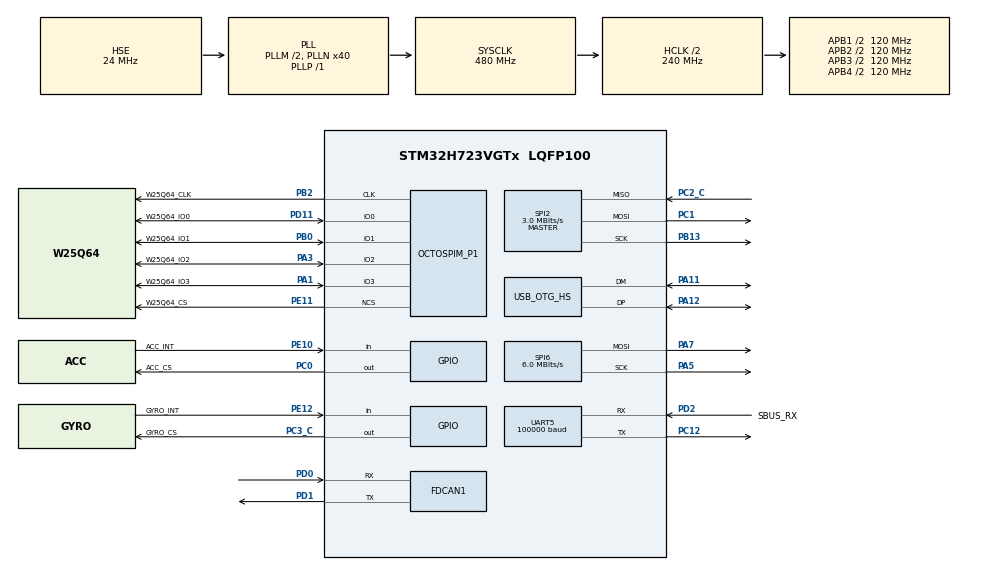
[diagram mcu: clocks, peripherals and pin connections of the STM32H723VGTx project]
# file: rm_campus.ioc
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CORTEX_M7.default_mode_Activation=1
Dma.Request0=UART5_RX
Dma.UART5_RX.0.Direction=DMA_PERIPH_TO_MEMORY
Dma.UART5_RX.0.EventEnable=DISABLE
Dma.UART5_RX.0.FIFOMode=DMA_FIFOMODE_DISABLE
Dma.UART5_RX.0.Instance=DMA1_Stream0
Dma.UART5_RX.0.MemDataAlignment=DMA_MDATAALIGN_BYTE
Dma.UART5_RX.0.MemInc=DMA_MINC_ENABLE
Dma.UART5_RX.0.Mode=DMA_CIRCULAR
Dma.UART5_RX.0.PeriphDataAlignment=DMA_PDATAALIGN_BYTE
Dma.UART5_RX.0.PeriphInc=DMA_PINC_DISABLE
Dma.UART5_RX.0.Polarity=HAL_DMAMUX_REQ_GEN_RISING
Dma.UART5_RX.0.Priority=DMA_PRIORITY_LOW
Dma.UART5_RX.0.RequestNumber=1
Dma.UART5_RX.0.SignalID=NONE
Dma.UART5_RX.0.SyncEnable=DISABLE
Dma.UART5_RX.0.SyncPolarity=HAL_DMAMUX_SYNC_NO_EVENT
Dma.UART5_RX.0.SyncRequestNumber=1
Dma.UART5_RX.0.SyncSignalID=NONE
FDCAN1.AutoRetransmission=ENABLE
FDCAN1.CalculateBaudRateNominal=1000000
FDCAN1.CalculateTimeBitNominal=1000
FDCAN1.CalculateTimeQuantumNominal=62.5
FDCAN1.ExtFiltersNbr=0
FDCAN1.FrameFormat=FDCAN_FRAME_CLASSIC
FDCAN1.MessageRAMOffset=0
FDCAN1.Mode=FDCAN_MODE_NORMAL
FDCAN1.NominalPrescaler=3
FDCAN1.NominalSyncJumpWidth=2
FDCAN1.NominalTimeSeg1=13
FDCAN1.NominalTimeSeg2=2
FDCAN1.RxFifo0ElmtSize=FDCAN_DATA_BYTES_8
FDCAN1.RxFifo0ElmtsNbr=8
FDCAN1.StdFiltersNbr=1
FDCAN1.TxElmtSize=FDCAN_DATA_BYTES_8
FDCAN1.TxFifoQueueElmtsNbr=8
FDCAN1.TxFifoQueueMode=FDCAN_TX_FIFO_OPERATION
FREERTOS.Tasks01=UsbTask,16,1024,StartUsbTask,Default,NULL,Dynamic,NULL,NULL;ImuTask,42,1024,StartImuTask,Default,NULL,Dynamic,NULL,NULL;RcTask,41,512,StartRcTask,Default,NULL,Dynamic,NULL,NULL;ChassisTask,40,1024,StartChassisTask,Default,NULL,Dynamic,NULL,NULL;ServoBusTask,32,512,StartServoBusTask,Default,NULL,Dynamic,NULL,NULL;MonitorTask,24,256,StartMonitorTask,Default,NULL,Dynamic,NULL,NULL;StatusTask,8,256,StartStatusTask,Default,NULL,Dynamic,NULL,NULL
FREERTOS.configCHECK_FOR_STACK_OVERFLOW=2
FREERTOS.configENABLE_FPU=1
FREERTOS.configTOTAL_HEAP_SIZE=49152
FREERTOS.configUSE_MALLOC_FAILED_HOOK=1
Mcu.Family=STM32H7
Mcu.Name=STM32H723VGTx
Mcu.Package=LQFP100
NVIC.DMA1_Stream0_IRQn=true\:5\:0\:false\:false\:true\:true\:false\:true\:true
NVIC.FDCAN1_IT0_IRQn=true\:5\:0\:false\:false\:true\:true\:true\:true\:true
NVIC.OTG_HS_IRQn=true\:5\:0\:false\:false\:true\:true\:false\:true\:true
NVIC.PriorityGroup=NVIC_PRIORITYGROUP_4
NVIC.TIM6_DAC_IRQn=true\:15\:0\:false\:false\:true\:false\:false\:true\:true
NVIC.TimeBase=TIM6_DAC_IRQn
NVIC.TimeBaseIP=TIM6
NVIC.UART5_IRQn=true\:5\:0\:false\:false\:true\:true\:true\:true\:true
OCTOSPI2.ChipSelectBoundary=0
OCTOSPI2.ChipSelectHighTime=3
OCTOSPI2.ClockMode=HAL_OSPI_CLOCK_MODE_3
OCTOSPI2.ClockPrescaler=24
OCTOSPI2.DelayBlockBypass=HAL_OSPI_DELAY_BLOCK_BYPASSED
OCTOSPI2.DelayHoldQuarterCycle=HAL_OSPI_DHQC_DISABLE
OCTOSPI2.DeviceSize=23
OCTOSPI2.DualQuad=HAL_OSPI_DUALQUAD_DISABLE
OCTOSPI2.FifoThreshold=1
OCTOSPI2.FreeRunningClock=HAL_OSPI_FREERUNCLK_DISABLE
OCTOSPI2.MemoryType=HAL_OSPI_MEMTYPE_MICRON
OCTOSPI2.SampleShifting=HAL_OSPI_SAMPLE_SHIFTING_HALFCYCLE
OCTOSPI2.WrapSize=HAL_OSPI_WRAP_NOT_SUPPORTED
PA1.GPIO_Label=W25Q64_IO3
PA1.GPIO_PuPd=GPIO_NOPULL
PA1.GPIO_Speed=GPIO_SPEED_FREQ_VERY_HIGH
PA1.Mode=OCTOSPI2_IOL_Port1L
PA1.Signal=OCTOSPIM_P1_IO3
PA11.Mode=Device_Only_FS
PA11.Signal=USB_OTG_HS_DM
PA12.Mode=Device_Only_FS
PA12.Signal=USB_OTG_HS_DP
PA13(JTMS/SWDIO).Mode=Serial_Wire
PA13(JTMS/SWDIO).Signal=DEBUG_JTMS-SWDIO
PA14(JTCK/SWCLK).Mode=Serial_Wire
PA14(JTCK/SWCLK).Signal=DEBUG_JTCK-SWCLK
PA3.GPIO_Label=W25Q64_IO2
PA3.GPIO_PuPd=GPIO_NOPULL
PA3.GPIO_Speed=GPIO_SPEED_FREQ_VERY_HIGH
PA3.Mode=OCTOSPI2_IOL_Port1L
PA3.Signal=OCTOSPIM_P1_IO2
PA5.Mode=TX_Only_Simplex_Unidirect_Master
PA5.Signal=SPI6_SCK
PA7.GPIO_Speed=GPIO_SPEED_FREQ_HIGH
PA7.Mode=TX_Only_Simplex_Unidirect_Master
PA7.Signal=SPI6_MOSI
PB0.GPIO_Label=W25Q64_IO1
PB0.GPIO_PuPd=GPIO_NOPULL
PB0.GPIO_Speed=GPIO_SPEED_FREQ_VERY_HIGH
PB0.Mode=OCTOSPI2_IOL_Port1L
PB0.Signal=OCTOSPIM_P1_IO1
PB13.GPIO_Speed=GPIO_SPEED_FREQ_HIGH
PB13.Mode=Full_Duplex_Master
PB13.Signal=SPI2_SCK
PB2.GPIO_Label=W25Q64_CLK
PB2.GPIO_PuPd=GPIO_NOPULL
PB2.GPIO_Speed=GPIO_SPEED_FREQ_VERY_HIGH
PB2.Mode=O2_P1_CLK
PB2.Signal=OCTOSPIM_P1_CLK
PC0.GPIO_Label=ACC_CS
PC0.GPIO_Speed=GPIO_SPEED_FREQ_HIGH
PC0.PinState=GPIO_PIN_SET
PC0.Signal=GPIO_Output
PC1.GPIO_Speed=GPIO_SPEED_FREQ_HIGH
PC1.Mode=Full_Duplex_Master
PC1.Signal=SPI2_MOSI
PC12.Mode=Asynchronous
PC12.Signal=UART5_TX
PC2_C.Mode=Full_Duplex_Master
PC2_C.Signal=SPI2_MISO
PC3_C.GPIO_Label=GYRO_CS
PC3_C.GPIO_Speed=GPIO_SPEED_FREQ_HIGH
PC3_C.PinState=GPIO_PIN_SET
PC3_C.Signal=GPIO_Output
PD11.GPIO_Label=W25Q64_IO0
PD11.GPIO_PuPd=GPIO_NOPULL
PD11.GPIO_Speed=GPIO_SPEED_FREQ_VERY_HIGH
PD11.Mode=OCTOSPI2_IOL_Port1L
PD11.Signal=OCTOSPIM_P1_IO0
PD0.Mode=FDCAN_Activate
PD0.Signal=FDCAN1_RX
PD1.Mode=FDCAN_Activate
PD1.Signal=FDCAN1_TX
PD2.GPIO_Label=SBUS_RX
PD2.Mode=Asynchronous
PD2.Signal=UART5_RX
PE10.GPIO_Label=ACC_INT
PE10.GPIO_PuPd=GPIO_NOPULL
PE10.Signal=GPIO_Input
PE11.GPIO_Label=W25Q64_CS
PE11.GPIO_PuPd=GPIO_NOPULL
PE11.GPIO_Speed=GPIO_SPEED_FREQ_VERY_HIGH
PE11.Mode=OCTOSPI2_Port1_NCS
PE11.Signal=OCTOSPIM_P1_NCS
PE12.GPIO_Label=GYRO_INT
PE12.GPIO_PuPd=GPIO_NOPULL
PE12.Signal=GPIO_Input
PH0-OSC_IN.Mode=HSE-External-Oscillator
PH0-OSC_IN.Signal=RCC_OSC_IN
PH1-OSC_OUT.Mode=HSE-External-Oscillator
PH1-OSC_OUT.Signal=RCC_OSC_OUT
ProjectManager.HeapSize=0x200
ProjectManager.StackSize=0x400
ProjectManager.TargetToolchain=CMake
RCC.ADCFreq_Value=48375000
RCC.APB1Freq_Value=120000000
RCC.APB2Freq_Value=120000000
RCC.APB3Freq_Value=120000000
RCC.APB4Freq_Value=120000000
RCC.CortexFreq_Value=480000000
RCC.D1PPRE=RCC_APB3_DIV2
RCC.D2PPRE1=RCC_APB1_DIV2
RCC.D2PPRE2=RCC_APB2_DIV2
RCC.D3PPRE=RCC_APB4_DIV2
RCC.DIVM1=2
RCC.DIVN1=40
RCC.DIVP1=1
RCC.DIVQ1=10
RCC.HCLKFreq_Value=240000000
RCC.HPRE=RCC_HCLK_DIV2
RCC.HSE_VALUE=24000000
RCC.PLL2FRACN=0
RCC.PLL3FRACN=0
RCC.PLLFRACN=0
RCC.PLLSourceVirtual=RCC_PLLSOURCE_HSE
RCC.QSPICLockSelection=RCC_OSPICLKSOURCE_D1HCLK
RCC.SPI6CLockSelection=RCC_SPI6CLKSOURCE_HSE
RCC.SYSCLKFreq_VALUE=480000000
RCC.SYSCLKSource=RCC_SYSCLKSOURCE_PLLCLK
RCC.USBFreq_Value=48000000
SPI2.BaudRatePrescaler=SPI_BAUDRATEPRESCALER_16
SPI2.CLKPhase=SPI_PHASE_2EDGE
SPI2.CLKPolarity=SPI_POLARITY_HIGH
SPI2.CalculateBaudRate=3.0 MBits/s
SPI2.DataSize=SPI_DATASIZE_8BIT
SPI2.Direction=SPI_DIRECTION_2LINES
SPI2.Mode=SPI_MODE_MASTER
SPI2.VirtualType=VM_MASTER
SPI6.BaudRatePrescaler=SPI_BAUDRATEPRESCALER_4
SPI6.CLKPhase=SPI_PHASE_2EDGE
SPI6.CalculateBaudRate=6.0 MBits/s
SPI6.DataSize=SPI_DATASIZE_8BIT
SPI6.Direction=SPI_DIRECTION_2LINES_TXONLY
SPI6.Mode=SPI_MODE_MASTER
SPI6.VirtualType=VM_MASTER
UART5.BaudRate=100000
UART5.Parity=PARITY_EVEN
UART5.StopBits=UART_STOPBITS_2
UART5.WordLength=WORDLENGTH_9B
USB_DEVICE.CLASS_NAME_HS=CDC
USB_DEVICE.VirtualMode=Cdc
USB_DEVICE.VirtualModeHS=Cdc_HS
USB_OTG_HS.VirtualMode-Device_Only_FS=Device_Only_FS
VP_FREERTOS_VS_CMSIS_V2.Mode=CMSIS_V2
VP_MEMORYMAP_VS_MEMORYMAP.Mode=CurAppReg
VP_OCTOSPI2_VS_octo.Mode=octo_mode
VP_SYS_VS_tim6.Mode=TIM6
VP_USB_DEVICE_VS_USB_DEVICE_CDC_HS.Mode=CDC_HS
board=custom

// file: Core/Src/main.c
/* USER CODE BEGIN Header */
/**
  ******************************************************************************
  * @file           : main.c
  * @brief          : Main program body
  ******************************************************************************
  * @attention
  *
  * Copyright (c) 2026 STMicroelectronics.
  * All rights reserved.
  *
  * This software is licensed under terms that can be found in the LICENSE file
  * in the root directory of this software component.
  * If no LICENSE file comes with this software, it is provided AS-IS.
  *
  ******************************************************************************
  */
/* USER CODE END Header */
#include "main.h"
#include "cmsis_os.h"
#include "dma.h"
#include "fdcan.h"
#include "spi.h"
#include "octospi.h"
#include "usart.h"
#include "usb_device.h"
#include "gpio.h"

/* USER CODE BEGIN Includes */
#include "campus_app.h"
/* USER CODE END Includes */

void SystemClock_Config(void);
static void MPU_Config(void);
void MX_FREERTOS_Init(void);

int main(void)
{

  /* MPU Configuration--------------------------------------------------------*/
  MPU_Config();

  /* MCU Configuration--------------------------------------------------------*/

  /* Reset of all peripherals, Initializes the Flash interface and the Systick. */
  HAL_Init();

  /* Configure the system clock */
  SystemClock_Config();

  /* Initialize all configured peripherals */
  MX_GPIO_Init();
  MX_DMA_Init();
  MX_SPI2_Init();
  MX_SPI6_Init();
  MX_UART5_Init();
  MX_FDCAN1_Init();
  MX_OCTOSPI2_Init();
  /* USER CODE BEGIN 2 */
/* 接通 CAN 和电机反馈；尚不发送非零电流。 */
  /* Campus_Init 只启动 CAN 与电机反馈；DMA 接收在调度器启动后的 RcTask 中启动。
   * 对象初始化必须先于 CAN 接收 IRQ；当前不在此处使能运动或发送非零电流。 */
  Campus_Init();
  /* USER CODE END 2 */

  /* Init scheduler */
  osKernelInitialize();  /* Call init function for freertos objects (in cmsis_os2.c) */
  MX_FREERTOS_Init();

  /* Start scheduler */
  osKernelStart();

  /* We should never get here as control is now taken by the scheduler */

  /* Infinite loop */
  while (1)
  {

  }
}

void SystemClock_Config(void)
{
  RCC_OscInitTypeDef RCC_OscInitStruct = {0};
  RCC_ClkInitTypeDef RCC_ClkInitStruct = {0};

  /** Supply configuration update enable
  */
  HAL_PWREx_ConfigSupply(PWR_LDO_SUPPLY);

  /** Configure the main internal regulator output voltage
  */
  __HAL_PWR_VOLTAGESCALING_CONFIG(PWR_REGULATOR_VOLTAGE_SCALE0);

  while(!__HAL_PWR_GET_FLAG(PWR_FLAG_VOSRDY)) {}

  /** Initializes the RCC Oscillators according to the specified parameters
  * in the RCC_OscInitTypeDef structure.
  */
  RCC_OscInitStruct.OscillatorType = RCC_OSCILLATORTYPE_HSE;
  RCC_OscInitStruct.HSEState = RCC_HSE_ON;
  RCC_OscInitStruct.PLL.PLLState = RCC_PLL_ON;
  RCC_OscInitStruct.PLL.PLLSource = RCC_PLLSOURCE_HSE;
  RCC_OscInitStruct.PLL.PLLM = 2;
  RCC_OscInitStruct.PLL.PLLN = 40;
  RCC_OscInitStruct.PLL.PLLP = 1;
  RCC_OscInitStruct.PLL.PLLQ = 10;
  RCC_OscInitStruct.PLL.PLLR = 2;
  RCC_OscInitStruct.PLL.PLLRGE = RCC_PLL1VCIRANGE_3;
  RCC_OscInitStruct.PLL.PLLVCOSEL = RCC_PLL1VCOWIDE;
  RCC_OscInitStruct.PLL.PLLFRACN = 0;
  if (HAL_RCC_OscConfig(&RCC_OscInitStruct) != HAL_OK)
  {
    Error_Handler();
  }

  /** Initializes the CPU, AHB and APB buses clocks
  */
  RCC_ClkInitStruct.ClockType = RCC_CLOCKTYPE_HCLK|RCC_CLOCKTYPE_SYSCLK
                              |RCC_CLOCKTYPE_PCLK1|RCC_CLOCKTYPE_PCLK2
                              |RCC_CLOCKTYPE_D3PCLK1|RCC_CLOCKTYPE_D1PCLK1;
  RCC_ClkInitStruct.SYSCLKSource = RCC_SYSCLKSOURCE_PLLCLK;
  RCC_ClkInitStruct.SYSCLKDivider = RCC_SYSCLK_DIV1;
  RCC_ClkInitStruct.AHBCLKDivider = RCC_HCLK_DIV2;
  RCC_ClkInitStruct.APB3CLKDivider = RCC_APB3_DIV2;
  RCC_ClkInitStruct.APB1CLKDivider = RCC_APB1_DIV2;
  RCC_ClkInitStruct.APB2CLKDivider = RCC_APB2_DIV2;
  RCC_ClkInitStruct.APB4CLKDivider = RCC_APB4_DIV2;

  if (HAL_RCC_ClockConfig(&RCC_ClkInitStruct, FLASH_LATENCY_3) != HAL_OK)
  {
    Error_Handler();
  }
}

 /* MPU Configuration */

void MPU_Config(void)
{
  MPU_Region_InitTypeDef MPU_InitStruct = {0};

  /* Disables the MPU */
  HAL_MPU_Disable();

  /** Initializes and configures the Region and the memory to be protected
  */
  MPU_InitStruct.Enable = MPU_REGION_ENABLE;
  MPU_InitStruct.Number = MPU_REGION_NUMBER0;
  MPU_InitStruct.BaseAddress = 0x0;
  MPU_InitStruct.Size = MPU_REGION_SIZE_4GB;
  MPU_InitStruct.SubRegionDisable = 0x87;
  MPU_InitStruct.TypeExtField = MPU_TEX_LEVEL0;
  MPU_InitStruct.AccessPermission = MPU_REGION_NO_ACCESS;
  MPU_InitStruct.DisableExec = MPU_INSTRUCTION_ACCESS_DISABLE;
  MPU_InitStruct.IsShareable = MPU_ACCESS_SHAREABLE;
  MPU_InitStruct.IsCacheable = MPU_ACCESS_NOT_CACHEABLE;
  MPU_InitStruct.IsBufferable = MPU_ACCESS_NOT_BUFFERABLE;

  HAL_MPU_ConfigRegion(&MPU_InitStruct);
  /* Enables the MPU */
  HAL_MPU_Enable(MPU_PRIVILEGED_DEFAULT);

}

void HAL_TIM_PeriodElapsedCallback(TIM_HandleTypeDef *htim)
{
  if (htim->Instance == TIM6)
  {
    HAL_IncTick();
  }
}

void Error_Handler(void)
{
  __disable_irq();
  while (1)
  {
  }
}

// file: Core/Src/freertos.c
/* USER CODE BEGIN Header */
/**
  ******************************************************************************
  * File Name          : freertos.c
  * Description        : Code for freertos applications
  ******************************************************************************
  * @attention
  *
  * Copyright (c) 2026 STMicroelectronics.
  * All rights reserved.
  *
  * This software is licensed under terms that can be found in the LICENSE file
  * in the root directory of this software component.
  * If no LICENSE file comes with this software, it is provided AS-IS.
  *
  ******************************************************************************
  */
/* USER CODE END Header */

#include "FreeRTOS.h"
#include "task.h"
#include "main.h"
#include "cmsis_os.h"

/* USER CODE BEGIN Includes */
#include "campus_app.h"
#include "usb_app.h"
#include "imu_app.h"
#include "flash_tasks.h"
/* USER CODE END Includes */

/* Definitions for UsbTask */
osThreadId_t UsbTaskHandle;
const osThreadAttr_t UsbTask_attributes = {
  .name = "UsbTask",
  .stack_size = 1024 * 4,
  .priority = (osPriority_t) osPriorityBelowNormal,
};
/* Definitions for ImuTask */
osThreadId_t ImuTaskHandle;
const osThreadAttr_t ImuTask_attributes = {
  .name = "ImuTask",
  .stack_size = 1024 * 4,
  .priority = (osPriority_t) osPriorityHigh2,
};
/* Definitions for RcTask */
osThreadId_t RcTaskHandle;
const osThreadAttr_t RcTask_attributes = {
  .name = "RcTask",
  .stack_size = 512 * 4,
  .priority = (osPriority_t) osPriorityHigh1,
};
/* Definitions for ChassisTask */
osThreadId_t ChassisTaskHandle;
const osThreadAttr_t ChassisTask_attributes = {
  .name = "ChassisTask",
  .stack_size = 1024 * 4,
  .priority = (osPriority_t) osPriorityHigh,
};
/* Definitions for ServoBusTask */
osThreadId_t ServoBusTaskHandle;
const osThreadAttr_t ServoBusTask_attributes = {
  .name = "ServoBusTask",
  .stack_size = 512 * 4,
  .priority = (osPriority_t) osPriorityAboveNormal,
};
/* Definitions for MonitorTask */
osThreadId_t MonitorTaskHandle;
const osThreadAttr_t MonitorTask_attributes = {
  .name = "MonitorTask",
  .stack_size = 256 * 4,
  .priority = (osPriority_t) osPriorityNormal,
};
/* Definitions for StatusTask */
osThreadId_t StatusTaskHandle;
const osThreadAttr_t StatusTask_attributes = {
  .name = "StatusTask",
  .stack_size = 256 * 4,
  .priority = (osPriority_t) osPriorityLow,
};

void StartUsbTask(void *argument);
void StartImuTask(void *argument);
void StartRcTask(void *argument);
void StartChassisTask(void *argument);
void StartServoBusTask(void *argument);
void StartMonitorTask(void *argument);
void StartStatusTask(void *argument);

extern void MX_USB_DEVICE_Init(void);
void MX_FREERTOS_Init(void); /* (MISRA C 2004 rule 8.1) */

/* Hook prototypes */
void vApplicationStackOverflowHook(xTaskHandle xTask, signed char *pcTaskName);
void vApplicationMallocFailedHook(void);

/* USER CODE BEGIN 4 */
void vApplicationStackOverflowHook(xTaskHandle xTask, signed char *pcTaskName)
{
  (void)xTask;
  (void)pcTaskName;

  /* Stop scheduling on stack overflow; set a debugger breakpoint here. */
  taskDISABLE_INTERRUPTS();
  for (;;)
  {
  }
}
/* USER CODE END 4 */

/* USER CODE BEGIN 5 */
void vApplicationMallocFailedHook(void)
{
  /* Stop scheduling on allocation failure; set a debugger breakpoint here. */
  taskDISABLE_INTERRUPTS();
  for (;;)
  {
  }
}
/* USER CODE END 5 */

void MX_FREERTOS_Init(void) {

  /* Create the thread(s) */
  /* creation of UsbTask */
  UsbTaskHandle = osThreadNew(StartUsbTask, NULL, &UsbTask_attributes);

  /* creation of ImuTask */
  ImuTaskHandle = osThreadNew(StartImuTask, NULL, &ImuTask_attributes);

  /* creation of RcTask */
  RcTaskHandle = osThreadNew(StartRcTask, NULL, &RcTask_attributes);

  /* creation of ChassisTask */
  ChassisTaskHandle = osThreadNew(StartChassisTask, NULL, &ChassisTask_attributes);

  /* creation of ServoBusTask */
  ServoBusTaskHandle = osThreadNew(StartServoBusTask, NULL, &ServoBusTask_attributes);

  /* creation of MonitorTask */
  MonitorTaskHandle = osThreadNew(StartMonitorTask, NULL, &MonitorTask_attributes);

  /* creation of StatusTask */
  StatusTaskHandle = osThreadNew(StartStatusTask, NULL, &StatusTask_attributes);

  /* USER CODE BEGIN RTOS_THREADS */
  /* 按两个独立编译开关创建业务任务及共用 Flash 服务，生成代码时保留。 */
  FlashTasks_Create();
  /* USER CODE END RTOS_THREADS */

}

/* USER CODE BEGIN Header_StartUsbTask */
/**
  * @brief USB 初始化、收发队列服务和应用层接收入口。
  * @note UsbTask 在 .ioc 任务列表中排第一，使 CubeMX 把 USB 初始化放在此任务。
  */
/* USER CODE END Header_StartUsbTask */
void StartUsbTask(void *argument)
{
  /* init code for USB_DEVICE */
  MX_USB_DEVICE_Init();
  /* USER CODE BEGIN StartUsbTask */
  Campus_UsbTask(argument);
  /* USER CODE END StartUsbTask */
}

/* USER CODE BEGIN Header_StartImuTask */
/**
  * @brief BMI088 采样、静止校准和姿态解算任务；本版本不接入恒温加热。
  * @note 周期及重试逻辑由应用层管理，优先级高于底盘控制任务。
  */
/* USER CODE END Header_StartImuTask */
void StartImuTask(void *argument)
{
  /* USER CODE BEGIN StartImuTask */
  Campus_ImuTask(argument);
  /* USER CODE END StartImuTask */
}

/* USER CODE BEGIN Header_StartRcTask */
/**
  * @brief 遥控接收任务：UART5 循环 DMA、SBUS 解包及串口错误恢复。
  * @note 接收事件唤醒，10 ms 超时处理。
  * @param argument 未使用。
  */
/* USER CODE END Header_StartRcTask */
void StartRcTask(void *argument)
{
  /* USER CODE BEGIN StartRcTask */
  /* 进入应用层常驻循环：接收事件唤醒后组帧、解析，处理串口异常。该函数内部不会正常返回。 */
  Campus_RcTask(argument);
  /* USER CODE END StartRcTask */
}

/* USER CODE BEGIN Header_StartChassisTask */
/**
  * @brief 底盘驱动联调任务：四个 M3508 反馈与统一 CAN 零电流发送。
  * @note 1 ms 固定周期；麦轮解算和 PID 尚未接入。
  * @param argument 未使用。
  */
/* USER CODE END Header_StartChassisTask */
void StartChassisTask(void *argument)
{
  /* USER CODE BEGIN StartChassisTask */
  /* 进入应用层 1 ms 循环：当前四路零电流联调，尚未接入 PID/麦轮解算。该函数内部不会正常返回。 */
Campus_ChassisTask(argument);
  /* USER CODE END StartChassisTask */
}

/* USER CODE BEGIN Header_StartServoBusTask */
/**
  * @brief UART 舵机任务占位：待确认五个舵机的协议后接入。
  * @note 当前只休眠，不发送舵机指令。
  * @param argument 未使用。
  */
/* USER CODE END Header_StartServoBusTask */
void StartServoBusTask(void *argument)
{
  /* USER CODE BEGIN StartServoBusTask */
(void)argument;
  /* 舵机型号和协议未确定，本次保留任务入口，不向总线发送指令。 */
  for (;;)
  {
    osDelay(20U);
  }
  /* USER CODE END StartServoBusTask */
}

/* USER CODE BEGIN Header_StartMonitorTask */
/**
  * @brief 系统监测任务：遥控、电机反馈超时及 CAN Bus-Off 状态。
  * @note 10 ms 固定周期。
  * @param argument 未使用。
  */
/* USER CODE END Header_StartMonitorTask */
void StartMonitorTask(void *argument)
{
  /* USER CODE BEGIN StartMonitorTask */
  /* 进入应用层 10 ms 循环：对遥控时间戳、电机反馈时间戳和 CAN 状态做监测。该函数内部不会正常返回。 */
Campus_MonitorTask(argument);
  /* USER CODE END StartMonitorTask */
}

/* USER CODE BEGIN Header_StartStatusTask */
/**
  * @brief LED 状态指示任务：显示遥控、电机与 CAN 状态。
  * @note 50 ms 周期；本次不接入蜂鸣器。
  * @param argument 未使用。
  */
/* USER CODE END Header_StartStatusTask */
void StartStatusTask(void *argument)
{
  /* USER CODE BEGIN StartStatusTask */
  /* 进入应用层 50 ms 循环：只更新 LED，不使用蜂鸣器。该函数内部不会正常返回。 */
Campus_StatusTask(argument);
  /* USER CODE END StartStatusTask */
}
